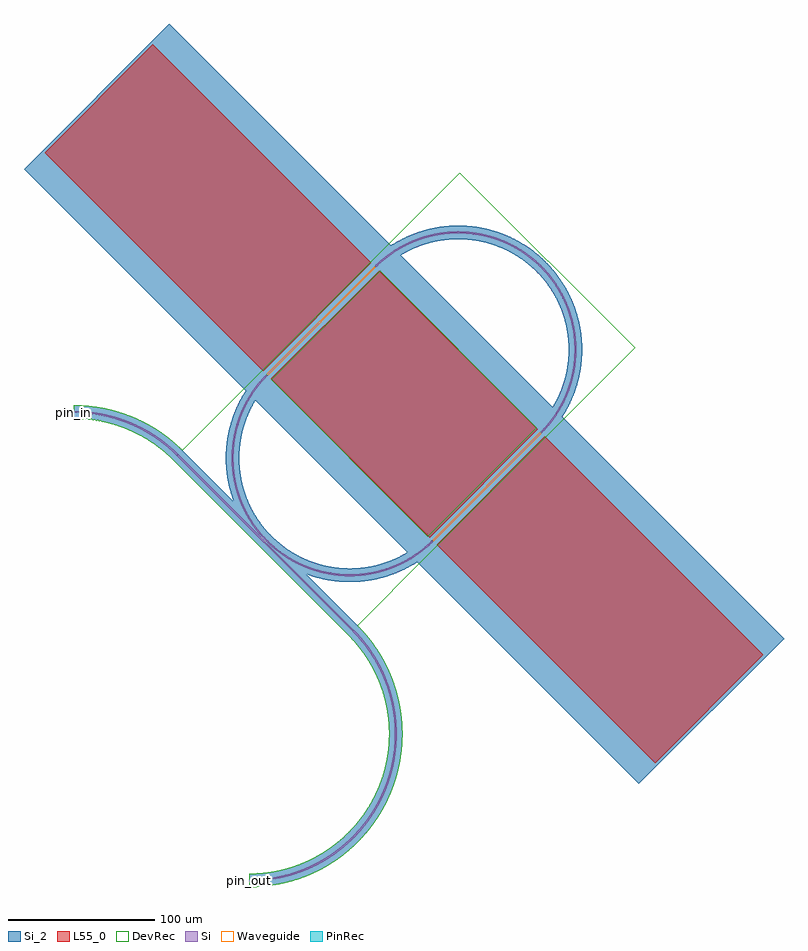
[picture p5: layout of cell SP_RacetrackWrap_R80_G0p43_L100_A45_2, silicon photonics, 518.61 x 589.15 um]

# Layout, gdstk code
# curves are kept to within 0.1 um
from math import pi, radians
import gdstk
lib = gdstk.Library(unit=1e-6, precision=1e-09)
def R(c, l, rs):  # rectangles x0, y0, x1, y1
    for r in rs: c.add(gdstk.rectangle(r[:2], r[2:], *l))
def P(c, l, *ps):  # polygons
    for p in ps: c.add(gdstk.Polygon(p, *l))
Si = (1, 0)
Si_2 = (1, 2)
PinRec = (1, 10)
Waveguide = (1, 99)
L55_0 = (55, 0)
DevRec = (68, 0)

bto_shetch_dc_halfring_s = lib.new_cell('BTO_ShEtch_dc_halfring_straight$6')
R(bto_shetch_dc_halfring_s, Si, [(-84.6,-0.6,84.6,0.6)])
P(bto_shetch_dc_halfring_s, Si, [(0,1.03),(-7.971,1.425),(-15.864,2.607),(-23.602,4.563),(-31.108,7.275),(-38.309,10.716),(-44.66,14.534),(-51.077,19.28),(-56.993,24.637),(-62.35,30.553),(-67.096,36.97),(-70.914,43.321),(-74.355,50.522),(-77.067,58.028),(-79.023,65.766),(-80.205,73.659),(-80.6,81.63),(-79.4,81.63),(-79.011,73.778),(-78.44,69.32),(-77.734,65.452),(-76.695,61.08),(-75.583,57.308),(-72.807,49.952),(-69.59,43.398),(-65.467,36.704),(-61.064,30.88),(-55.746,25.09),(-50.317,20.208),(-43.995,15.533),(-37.243,11.506),(-30.125,8.167),(-23.25,5.71),(-15.628,3.783),(-7.852,2.619),(0,2.23),(7.852,2.619),(15.628,3.783),(23.25,5.71),(30.125,8.167),(37.243,11.506),(43.995,15.533),(50.317,20.208),(55.746,25.09),(61.064,30.88),(65.467,36.704),(69.59,43.398),(72.807,49.952),(75.583,57.308),(76.695,61.08),(77.734,65.452),(78.44,69.32),(79.011,73.778),(79.4,81.63),(80.6,81.63),(80.205,73.659),(79.023,65.766),(77.067,58.028),(74.355,50.522),(70.914,43.321),(67.096,36.97),(62.35,30.553),(56.993,24.637),(51.077,19.28),(44.66,14.534),(38.309,10.716),(31.108,7.275),(23.602,4.563),(15.864,2.607),(7.971,1.425)])
P(bto_shetch_dc_halfring_s, Si_2, [(-84.6,-4.6),(-84.6,4.6),(-34.978,4.6),(-40.735,7.483),(-45.875,10.548),(-50.786,13.969),(-55.442,17.729),(-59.821,21.809),(-63.901,26.188),(-67.661,30.844),(-71.082,35.755),(-74.147,40.895),(-76.841,46.239),(-79.151,51.76),(-81.065,57.43),(-82.573,63.222),(-83.668,69.106),(-84.344,75.052),(-84.6,81.63),(-75.4,81.63),(-75.308,77.897),(-74.976,73.642),(-74.404,69.413),(-73.708,65.745),(-72.831,62.115),(-71.61,58.026),(-70.354,54.509),(-68.707,50.573),(-66.84,46.735),(-65.03,43.469),(-60.937,37.225),(-58.664,34.262),(-55.89,31.019),(-53.316,28.314),(-50.214,25.383),(-45.263,21.327),(-39.533,17.425),(-33.468,14.065),(-27.121,11.276),(-20.544,9.083),(-13.793,7.502),(-6.926,6.549),(0,6.23),(6.926,6.549),(13.793,7.502),(20.544,9.083),(27.121,11.276),(33.468,14.065),(39.533,17.425),(45.263,21.327),(50.214,25.383),(53.316,28.314),(55.89,31.019),(58.664,34.262),(60.937,37.225),(65.03,43.469),(66.84,46.735),(68.707,50.573),(70.354,54.509),(71.61,58.026),(72.831,62.115),(73.708,65.745),(74.404,69.413),(74.976,73.642),(75.308,77.897),(75.4,81.63),(84.6,81.63),(84.344,75.052),(83.668,69.106),(82.573,63.222),(81.065,57.43),(79.151,51.76),(76.841,46.239),(74.147,40.895),(71.082,35.755),(67.661,30.844),(63.901,26.188),(59.821,21.809),(55.442,17.729),(50.786,13.969),(45.875,10.548),(40.735,7.483),(34.978,4.6),(84.6,4.6),(84.6,-4.6)])
R(bto_shetch_dc_halfring_s, DevRec, [(-84.6,-4.6,84.6,81.63)])
bto_shetch_dc_halfring_s.add(gdstk.FlexPath([(-80,81.62),(-80,81.64)], 1.2, ends="flush", simple_path=True, layer=1, datatype=10))  # PinRec
bto_shetch_dc_halfring_s.add(gdstk.FlexPath([(80,81.62),(80,81.64)], 1.2, ends="flush", simple_path=True, layer=1, datatype=10))  # PinRec
bto_shetch_dc_halfring_s.add(gdstk.FlexPath([(-84.59,0),(-84.61,0)], 1.2, ends="flush", simple_path=True, layer=1, datatype=10))  # PinRec
bto_shetch_dc_halfring_s.add(gdstk.FlexPath([(84.59,0),(84.61,0)], 1.2, ends="flush", simple_path=True, layer=1, datatype=10))  # PinRec
bto_shetch_dc_halfring_s.add(gdstk.Label('pin2', (-80,81.63), layer=1, texttype=10))
bto_shetch_dc_halfring_s.add(gdstk.Label('pin4', (80,81.63), layer=1, texttype=10))
bto_shetch_dc_halfring_s.add(gdstk.Label('pin1', (-84.6,0), layer=1, texttype=10))
bto_shetch_dc_halfring_s.add(gdstk.Label('pin3', (84.6,0), layer=1, texttype=10))

c_bto_shetch_dc_halfring_s = lib.new_cell('BTO_ShEtch_dc_halfring_straight$7')
P(c_bto_shetch_dc_halfring_s, Si, [(0,1.03),(-7.971,1.425),(-15.864,2.607),(-23.602,4.563),(-31.108,7.275),(-38.309,10.716),(-44.66,14.534),(-51.077,19.28),(-56.993,24.637),(-62.35,30.553),(-67.096,36.97),(-70.914,43.321),(-74.355,50.522),(-77.067,58.028),(-79.023,65.766),(-80.205,73.659),(-80.6,81.63),(-79.4,81.63),(-79.011,73.778),(-78.44,69.32),(-77.734,65.452),(-76.695,61.08),(-75.583,57.308),(-72.807,49.952),(-69.59,43.398),(-65.467,36.704),(-61.064,30.88),(-55.746,25.09),(-50.317,20.208),(-43.995,15.533),(-37.243,11.506),(-30.125,8.167),(-23.25,5.71),(-15.628,3.783),(-7.852,2.619),(0,2.23),(7.852,2.619),(15.628,3.783),(23.25,5.71),(30.125,8.167),(37.243,11.506),(43.995,15.533),(50.317,20.208),(55.746,25.09),(61.064,30.88),(65.467,36.704),(69.59,43.398),(72.807,49.952),(75.583,57.308),(76.695,61.08),(77.734,65.452),(78.44,69.32),(79.011,73.778),(79.4,81.63),(80.6,81.63),(80.205,73.659),(79.023,65.766),(77.067,58.028),(74.355,50.522),(70.914,43.321),(67.096,36.97),(62.35,30.553),(56.993,24.637),(51.077,19.28),(44.66,14.534),(38.309,10.716),(31.108,7.275),(23.602,4.563),(15.864,2.607),(7.971,1.425)])
P(c_bto_shetch_dc_halfring_s, Si_2, [(0,-2.97),(-4.188,-2.866),(-8.367,-2.555),(-12.524,-2.038),(-16.651,-1.315),(-20.738,-0.389),(-24.773,0.738),(-28.747,2.064),(-32.651,3.585),(-36.475,5.297),(-40.21,7.197),(-43.846,9.279),(-47.374,11.538),(-50.786,13.969),(-54.074,16.567),(-59.821,21.809),(-65.063,27.556),(-67.661,30.844),(-70.092,34.256),(-72.351,37.784),(-74.433,41.42),(-76.333,45.155),(-78.045,48.979),(-79.566,52.883),(-80.892,56.857),(-82.019,60.892),(-82.945,64.979),(-83.668,69.106),(-84.185,73.263),(-84.496,77.442),(-84.6,81.63),(-75.4,81.63),(-75.308,77.897),(-74.976,73.642),(-74.404,69.413),(-73.708,65.745),(-72.831,62.115),(-71.61,58.026),(-70.354,54.509),(-68.707,50.573),(-66.84,46.735),(-65.03,43.469),(-60.937,37.225),(-58.664,34.262),(-55.89,31.019),(-53.316,28.314),(-50.214,25.383),(-45.263,21.327),(-39.533,17.425),(-33.468,14.065),(-27.121,11.276),(-20.544,9.083),(-13.793,7.502),(-6.926,6.549),(0,6.23),(6.926,6.549),(13.793,7.502),(20.544,9.083),(27.121,11.276),(33.468,14.065),(39.533,17.425),(45.263,21.327),(50.214,25.383),(53.316,28.314),(55.89,31.019),(58.664,34.262),(60.937,37.225),(65.03,43.469),(66.84,46.735),(68.707,50.573),(70.354,54.509),(71.61,58.026),(72.831,62.115),(73.708,65.745),(74.404,69.413),(74.976,73.642),(75.308,77.897),(75.4,81.63),(84.6,81.63),(84.496,77.442),(84.185,73.263),(83.668,69.106),(82.945,64.979),(82.019,60.892),(80.892,56.857),(79.566,52.883),(78.045,48.979),(76.333,45.155),(74.433,41.42),(72.351,37.784),(70.092,34.256),(67.661,30.844),(65.063,27.556),(59.821,21.809),(54.074,16.567),(50.786,13.969),(47.374,11.538),(43.846,9.279),(40.21,7.197),(36.475,5.297),(32.651,3.585),(28.747,2.064),(24.773,0.738),(20.738,-0.389),(16.651,-1.315),(12.524,-2.038),(8.367,-2.555),(4.188,-2.866)])
R(c_bto_shetch_dc_halfring_s, DevRec, [(-84.6,-4.6,84.6,81.63)])
c_bto_shetch_dc_halfring_s.add(gdstk.FlexPath([(-80,81.62),(-80,81.64)], 1.2, ends="flush", simple_path=True, layer=1, datatype=10))  # PinRec
c_bto_shetch_dc_halfring_s.add(gdstk.FlexPath([(80,81.62),(80,81.64)], 1.2, ends="flush", simple_path=True, layer=1, datatype=10))  # PinRec
c_bto_shetch_dc_halfring_s.add(gdstk.Label('pin2', (-80,81.63), layer=1, texttype=10))
c_bto_shetch_dc_halfring_s.add(gdstk.Label('pin4', (80,81.63), layer=1, texttype=10))

waveguide_30 = lib.new_cell('Waveguide$30')
R(waveguide_30, Si, [(-80.6,81.63,-79.4,186.25)])
R(waveguide_30, Si_2, [(-84.6,81.63,-75.4,186.25)])
R(waveguide_30, Waveguide, [(-80.6,81.63,-79.4,186.25)])
R(waveguide_30, DevRec, [(-84.6,81.63,-75.4,186.25)])
waveguide_30.add(gdstk.FlexPath([(-80,81.64),(-80,81.62)], 1.2, ends="flush", simple_path=True, layer=1, datatype=10))  # PinRec
waveguide_30.add(gdstk.FlexPath([(-80,186.24),(-80,186.26)], 1.2, ends="flush", simple_path=True, layer=1, datatype=10))  # PinRec
waveguide_30.add(gdstk.Label('Lumerical_INTERCONNECT_library=Design kits/EBeam', (-80.24,81.63), layer=68, texttype=0))
waveguide_30.add(gdstk.Label('Component=ebeam_wg_integral_895', (-79.76,81.63), layer=68, texttype=0))
waveguide_30.add(gdstk.Label('cellName=Waveguide', (-79.52,81.63), layer=68, texttype=0))
waveguide_30.add(gdstk.Label('Spice_param:wg_length=0.000104620 wg_width=1.2e-06 points="[[-80.0,81.63],[-80.0,186.25]]" radius=0.0001', (-80,81.63), layer=68, texttype=0))
waveguide_30.add(gdstk.Label('Length=104.620 (microns)', (-81.44,81.63), layer=68, texttype=0))
waveguide_30.add(gdstk.Label('waveguide_type=Low-loss Bend Waveguide, w=1.2um r=100um', (-80.48,81.63), layer=68, texttype=0))
waveguide_30.add(gdstk.Label('opt1', (-80,81.63), layer=1, texttype=10))
waveguide_30.add(gdstk.Label('opt2', (-80,186.25), layer=1, texttype=10))

waveguide_31 = lib.new_cell('Waveguide$31')
R(waveguide_31, Si, [(79.4,81.63,80.6,186.25)])
R(waveguide_31, Si_2, [(75.4,81.63,84.6,186.25)])
R(waveguide_31, Waveguide, [(79.4,81.63,80.6,186.25)])
R(waveguide_31, DevRec, [(75.4,81.63,84.6,186.25)])
waveguide_31.add(gdstk.FlexPath([(80,81.64),(80,81.62)], 1.2, ends="flush", simple_path=True, layer=1, datatype=10))  # PinRec
waveguide_31.add(gdstk.FlexPath([(80,186.24),(80,186.26)], 1.2, ends="flush", simple_path=True, layer=1, datatype=10))  # PinRec
waveguide_31.add(gdstk.Label('Lumerical_INTERCONNECT_library=Design kits/EBeam', (79.76,81.63), layer=68, texttype=0))
waveguide_31.add(gdstk.Label('Component=ebeam_wg_integral_895', (80.24,81.63), layer=68, texttype=0))
waveguide_31.add(gdstk.Label('cellName=Waveguide', (80.48,81.63), layer=68, texttype=0))
waveguide_31.add(gdstk.Label('Spice_param:wg_length=0.000104620 wg_width=1.2e-06 points="[[80.0,81.63],[80.0,186.25]]" radius=0.0001', (80,81.63), layer=68, texttype=0))
waveguide_31.add(gdstk.Label('Length=104.620 (microns)', (78.56,81.63), layer=68, texttype=0))
waveguide_31.add(gdstk.Label('waveguide_type=Low-loss Bend Waveguide, w=1.2um r=100um', (79.52,81.63), layer=68, texttype=0))
waveguide_31.add(gdstk.Label('opt1', (80,81.63), layer=1, texttype=10))
waveguide_31.add(gdstk.Label('opt2', (80,186.25), layer=1, texttype=10))

bto_shetch_varbend_4 = lib.new_cell('BTO_ShEtch_VarBend$4')
P(bto_shetch_varbend_4, Si, [(-70.286,70.286),(-71.135,71.135),(-70.824,71.445),(-65.134,76.668),(-58.918,81.542),(-54.422,84.609),(-49.614,87.515),(-44.809,90.07),(-39.792,92.396),(-34.902,94.352),(-30.084,95.997),(-25.358,97.352),(-20.314,98.528),(-15.13,99.456),(-9.992,100.103),(-5.002,100.476),(0,100.6),(0,99.4),(-6.068,99.215),(-11.769,98.701),(-17.431,97.86),(-23.036,96.694),(-31.293,94.346),(-39.477,91.225),(-43.808,89.226),(-47.81,87.147),(-51.862,84.798),(-55.799,82.261),(-59.682,79.489),(-63.427,76.534),(-66.962,73.461)])
P(bto_shetch_varbend_4, Si_2, [(-67.458,67.458),(-73.963,73.963),(-68.624,78.943),(-62.658,83.757),(-56.893,87.775),(-50.551,91.574),(-44.537,94.645),(-38.506,97.255),(-32.323,99.481),(-26.013,101.314),(-19.869,102.696),(-13.019,103.787),(-6.568,104.394),(0,104.6),(0,95.4),(-4.91,95.274),(-9.392,94.937),(-13.936,94.377),(-18.693,93.551),(-23.241,92.526),(-27.813,91.256),(-32.316,89.76),(-36.354,88.202),(-40.619,86.321),(-44.935,84.155),(-48.849,81.945),(-52.863,79.415),(-56.88,76.589),(-60.489,73.772),(-64.144,70.617)])
P(bto_shetch_varbend_4, DevRec, [(-67.458,67.458),(-73.963,73.963),(-68.624,78.943),(-62.658,83.757),(-56.893,87.775),(-50.551,91.574),(-44.537,94.645),(-38.506,97.255),(-32.323,99.481),(-26.013,101.314),(-19.869,102.696),(-13.019,103.787),(-6.568,104.394),(0,104.6),(0,95.4),(-4.91,95.274),(-9.392,94.937),(-13.936,94.377),(-18.693,93.551),(-23.241,92.526),(-27.813,91.256),(-32.316,89.76),(-36.354,88.202),(-40.619,86.321),(-44.935,84.155),(-48.849,81.945),(-52.863,79.415),(-56.88,76.589),(-60.489,73.772),(-64.144,70.617)])
bto_shetch_varbend_4.add(gdstk.FlexPath([(-0.01,100),(0.01,100)], 1.2, ends="flush", simple_path=True, layer=1, datatype=10))  # PinRec
bto_shetch_varbend_4.add(gdstk.FlexPath([(-70.704,70.718),(-70.718,70.704)], 1.2, ends="flush", simple_path=True, layer=1, datatype=10))  # PinRec
bto_shetch_varbend_4.add(gdstk.Label('pin1', (0,100), layer=1, texttype=10))
bto_shetch_varbend_4.add(gdstk.Label('pin2', (-70.711,70.711), layer=1, texttype=10))

bto_shetch_varbend_5 = lib.new_cell('BTO_ShEtch_VarBend$5')
P(bto_shetch_varbend_5, Si, [(-0.263,-100.6),(-5.44,-100.453),(-10.516,-100.049),(-15.564,-99.389),(-20.314,-98.528),(-25.358,-97.352),(-30.084,-95.997),(-34.902,-94.352),(-39.792,-92.396),(-44.809,-90.07),(-49.614,-87.515),(-54.422,-84.609),(-58.918,-81.542),(-65.134,-76.668),(-70.824,-71.445),(-71.135,-71.135),(-70.286,-70.286),(-64.819,-75.359),(-59.195,-79.852),(-53.188,-83.973),(-46.972,-87.602),(-40.35,-90.842),(-33.344,-93.641),(-26.313,-95.854),(-19.222,-97.524),(-12.028,-98.67),(-4.769,-99.286),(2.689,-99.364),(9.872,-98.909),(17.261,-97.89),(24.468,-96.342),(31.293,-94.346),(37.959,-91.867),(44.43,-88.918),(50.897,-85.381),(57.085,-81.374),(62.622,-77.194),(67.981,-72.519),(73.227,-67.218),(78.061,-61.538),(82.163,-55.943),(85.822,-50.15),(89.034,-44.197),(91.867,-37.959),(94.346,-31.293),(96.572,-23.542),(98.163,-15.635),(99.094,-7.799),(99.4,0),(100.6,0),(100.476,-5.002),(100.103,-9.992),(99.495,-14.87),(98.633,-19.798),(97.505,-24.763),(96.179,-29.497),(94.653,-34.077),(92.909,-38.579),(90.876,-43.151),(88.701,-47.461),(86.276,-51.738),(83.695,-55.817),(80.816,-59.91),(77.793,-63.786),(74.702,-67.38),(71.011,-71.259),(67.38,-74.702),(63.786,-77.793),(59.91,-80.816),(55.817,-83.695),(51.738,-86.276),(47.229,-88.825),(42.833,-91.026),(38.417,-92.976),(33.581,-94.83),(28.993,-96.332),(24.337,-97.612),(19.282,-98.735),(14.609,-99.534),(9.467,-100.154),(5.002,-100.476)])
P(bto_shetch_varbend_5, Si_2, [(-0.274,-104.6),(-6.568,-104.394),(-13.381,-103.741),(-19.869,-102.696),(-26.013,-101.314),(-32.323,-99.481),(-38.506,-97.255),(-44.537,-94.645),(-50.551,-91.574),(-56.893,-87.775),(-62.658,-83.757),(-68.624,-78.943),(-73.963,-73.963),(-67.458,-67.458),(-62.651,-71.945),(-57.08,-76.44),(-51.329,-80.415),(-45.448,-83.879),(-39.334,-86.914),(-33.098,-89.475),(-26.696,-91.589),(-19.753,-93.333),(-12.865,-94.529),(-5.99,-95.212),(0.916,-95.396),(7.651,-95.093),(14.513,-94.29),(21.379,-92.974),(28.211,-91.134),(34.577,-88.914),(40.393,-86.427),(46.251,-83.439),(51.819,-80.1),(56.88,-76.589),(61.831,-72.651),(66.51,-68.393),(70.952,-63.773),(74.868,-59.127),(79.461,-52.794),(83.56,-46.032),(87.22,-38.651),(90.094,-31.374),(92.424,-23.644),(94.092,-15.746),(95.093,-7.651),(95.4,0),(104.6,0),(104.48,-5.019),(104.11,-10.116),(103.465,-15.371),(102.626,-20.227),(101.471,-25.394),(100.136,-30.233),(98.509,-35.174),(96.638,-40.029),(94.489,-44.867),(92.098,-49.59),(89.707,-53.795),(86.972,-58.113),(84.138,-62.145),(80.944,-66.252),(77.611,-70.127),(73.899,-74.028),(70.127,-77.611),(66.252,-80.944),(62.072,-84.192),(57.885,-87.124),(53.403,-89.941),(48.865,-92.485),(44.454,-94.684),(39.86,-96.708),(35.174,-98.509),(30.233,-100.136),(25.394,-101.471),(20.227,-102.626),(15.371,-103.465),(10.116,-104.11),(5.019,-104.48)])
P(bto_shetch_varbend_5, DevRec, [(-0.274,-104.6),(-6.568,-104.394),(-13.381,-103.741),(-19.869,-102.696),(-26.013,-101.314),(-32.323,-99.481),(-38.506,-97.255),(-44.537,-94.645),(-50.551,-91.574),(-56.893,-87.775),(-62.658,-83.757),(-68.624,-78.943),(-73.963,-73.963),(-67.458,-67.458),(-62.651,-71.945),(-57.08,-76.44),(-51.329,-80.415),(-45.448,-83.879),(-39.334,-86.914),(-33.098,-89.475),(-26.696,-91.589),(-19.753,-93.333),(-12.865,-94.529),(-5.99,-95.212),(0.916,-95.396),(7.651,-95.093),(14.513,-94.29),(21.379,-92.974),(28.211,-91.134),(34.577,-88.914),(40.393,-86.427),(46.251,-83.439),(51.819,-80.1),(56.88,-76.589),(61.831,-72.651),(66.51,-68.393),(70.952,-63.773),(74.868,-59.127),(79.461,-52.794),(83.56,-46.032),(87.22,-38.651),(90.094,-31.374),(92.424,-23.644),(94.092,-15.746),(95.093,-7.651),(95.4,0),(104.6,0),(104.48,-5.019),(104.11,-10.116),(103.465,-15.371),(102.626,-20.227),(101.471,-25.394),(100.136,-30.233),(98.509,-35.174),(96.638,-40.029),(94.489,-44.867),(92.098,-49.59),(89.707,-53.795),(86.972,-58.113),(84.138,-62.145),(80.944,-66.252),(77.611,-70.127),(73.899,-74.028),(70.127,-77.611),(66.252,-80.944),(62.072,-84.192),(57.885,-87.124),(53.403,-89.941),(48.865,-92.485),(44.454,-94.684),(39.86,-96.708),(35.174,-98.509),(30.233,-100.136),(25.394,-101.471),(20.227,-102.626),(15.371,-103.465),(10.116,-104.11),(5.019,-104.48)])
bto_shetch_varbend_5.add(gdstk.FlexPath([(100,-0.01),(100,0.01)], 1.2, ends="flush", simple_path=True, layer=1, datatype=10))  # PinRec
bto_shetch_varbend_5.add(gdstk.FlexPath([(-70.704,-70.718),(-70.718,-70.704)], 1.2, ends="flush", simple_path=True, layer=1, datatype=10))  # PinRec
bto_shetch_varbend_5.add(gdstk.Label('pin1', (100,0), layer=1, texttype=10))
bto_shetch_varbend_5.add(gdstk.Label('pin2', (-70.711,-70.711), layer=1, texttype=10))

sp_racetrackcore_r80_g0p = lib.new_cell('SP_RacetrackCore_R80_G0p43_L100_A45')
R(sp_racetrackcore_r80_g0p, Si_2, [(-296.61,63.839,296.61,204.04)])
R(sp_racetrackcore_r80_g0p, L55_0, [(-294.61,81.639,-83.71,186.24), (-76.31,81.639,76.91,186.24), (83.71,81.639,294.61,186.24)])
sp_racetrackcore_r80_g0p.add(gdstk.Reference(bto_shetch_dc_halfring_s, (0,0)))
sp_racetrackcore_r80_g0p.add(gdstk.Reference(c_bto_shetch_dc_halfring_s, (0,267.88), rotation=pi))
sp_racetrackcore_r80_g0p.add(gdstk.Reference(waveguide_30, (0,0)))
sp_racetrackcore_r80_g0p.add(gdstk.Reference(waveguide_31, (0,0)))
sp_racetrackcore_r80_g0p.add(gdstk.Reference(bto_shetch_varbend_4, (-84.6,-100)))
sp_racetrackcore_r80_g0p.add(gdstk.Reference(bto_shetch_varbend_5, (84.6,-100), rotation=pi/2))

sp_racetrackwrap_r80_g0p = lib.new_cell('SP_RacetrackWrap_R80_G0p43_L100_A45_2')
sp_racetrackwrap_r80_g0p.add(gdstk.FlexPath([(-130.522,89.111),(-130.542,89.111)], 0, ends="flush", simple_path=True, layer=1, datatype=10))  # PinRec
sp_racetrackwrap_r80_g0p.add(gdstk.FlexPath([(-10.879,-230.532),(-10.899,-230.532)], 0, ends="flush", simple_path=True, layer=1, datatype=10))  # PinRec
sp_racetrackwrap_r80_g0p.add(gdstk.Reference(sp_racetrackcore_r80_g0p, (0,0), rotation=radians(315)))
sp_racetrackwrap_r80_g0p.add(gdstk.Label('pin_in', (-130.532,89.111), layer=1, texttype=10))
sp_racetrackwrap_r80_g0p.add(gdstk.Label('pin_out', (-10.889,-230.532), layer=1, texttype=10))

lib.write_gds('SP_RacetrackWrap_R80_G0p43_L100_A45_2.gds')
